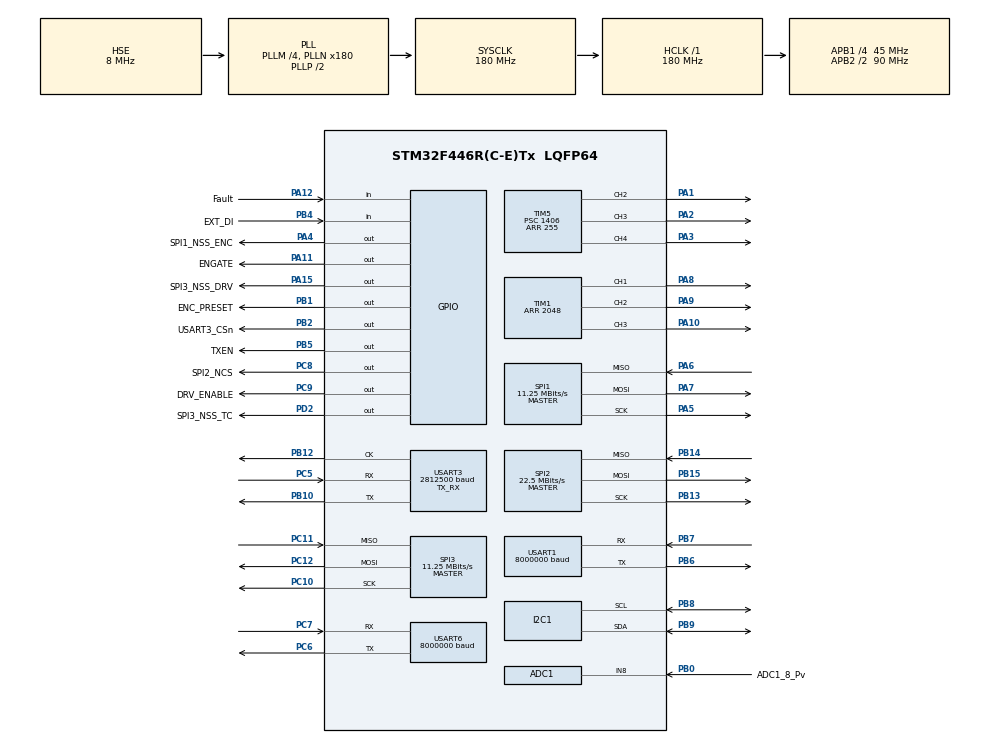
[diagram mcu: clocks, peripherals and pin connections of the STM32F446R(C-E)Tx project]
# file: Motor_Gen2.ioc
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ADC1.Channel-0\#ChannelRegularConversion=ADC_CHANNEL_8
ADC1.ClockPrescaler=ADC_CLOCK_SYNC_PCLK_DIV4
ADC1.ContinuousConvMode=DISABLE
ADC1.DMAContinuousRequests=DISABLE
ADC1.DataAlign=ADC_DATAALIGN_RIGHT
ADC1.DiscontinuousConvMode=DISABLE
ADC1.EOCSelection=ADC_EOC_SINGLE_CONV
ADC1.EnableAnalogWatchDog=false
ADC1.ExternalTrigConv=ADC_SOFTWARE_START
ADC1.ExternalTrigConvEdge=ADC_EXTERNALTRIGCONVEDGE_NONE
ADC1.InjNumberOfConversion=0
ADC1.NbrOfConversion=1
ADC1.NbrOfConversionFlag=1
ADC1.Rank-0\#ChannelRegularConversion=1
ADC1.Resolution=ADC_RESOLUTION_12B
ADC1.SamplingTime-0\#ChannelRegularConversion=ADC_SAMPLETIME_3CYCLES
ADC1.ScanConvMode=DISABLE
ADC1.master=1
Dma.Request0=USART6_TX
Dma.Request1=USART1_TX
Dma.Request2=SPI2_TX
Dma.Request3=SPI2_RX
Dma.Request4=SPI1_RX
Dma.Request5=SPI1_TX
Dma.SPI1_RX.4.Direction=DMA_PERIPH_TO_MEMORY
Dma.SPI1_RX.4.FIFOMode=DMA_FIFOMODE_DISABLE
Dma.SPI1_RX.4.Instance=DMA2_Stream0
Dma.SPI1_RX.4.MemDataAlignment=DMA_MDATAALIGN_BYTE
Dma.SPI1_RX.4.MemInc=DMA_MINC_ENABLE
Dma.SPI1_RX.4.Mode=DMA_NORMAL
Dma.SPI1_RX.4.PeriphDataAlignment=DMA_PDATAALIGN_BYTE
Dma.SPI1_RX.4.PeriphInc=DMA_PINC_DISABLE
Dma.SPI1_RX.4.Priority=DMA_PRIORITY_HIGH
Dma.SPI1_TX.5.Direction=DMA_MEMORY_TO_PERIPH
Dma.SPI1_TX.5.FIFOMode=DMA_FIFOMODE_DISABLE
Dma.SPI1_TX.5.Instance=DMA2_Stream3
Dma.SPI1_TX.5.MemDataAlignment=DMA_MDATAALIGN_BYTE
Dma.SPI1_TX.5.MemInc=DMA_MINC_ENABLE
Dma.SPI1_TX.5.Mode=DMA_NORMAL
Dma.SPI1_TX.5.PeriphDataAlignment=DMA_PDATAALIGN_BYTE
Dma.SPI1_TX.5.PeriphInc=DMA_PINC_DISABLE
Dma.SPI1_TX.5.Priority=DMA_PRIORITY_HIGH
Dma.SPI2_RX.3.Direction=DMA_PERIPH_TO_MEMORY
Dma.SPI2_RX.3.FIFOMode=DMA_FIFOMODE_DISABLE
Dma.SPI2_RX.3.Instance=DMA1_Stream3
Dma.SPI2_RX.3.MemDataAlignment=DMA_MDATAALIGN_HALFWORD
Dma.SPI2_RX.3.MemInc=DMA_MINC_ENABLE
Dma.SPI2_RX.3.Mode=DMA_NORMAL
Dma.SPI2_RX.3.PeriphDataAlignment=DMA_PDATAALIGN_HALFWORD
Dma.SPI2_RX.3.PeriphInc=DMA_PINC_DISABLE
Dma.SPI2_RX.3.Priority=DMA_PRIORITY_HIGH
Dma.SPI2_TX.2.Direction=DMA_MEMORY_TO_PERIPH
Dma.SPI2_TX.2.FIFOMode=DMA_FIFOMODE_DISABLE
Dma.SPI2_TX.2.Instance=DMA1_Stream4
Dma.SPI2_TX.2.MemDataAlignment=DMA_MDATAALIGN_HALFWORD
Dma.SPI2_TX.2.MemInc=DMA_MINC_ENABLE
Dma.SPI2_TX.2.Mode=DMA_NORMAL
Dma.SPI2_TX.2.PeriphDataAlignment=DMA_PDATAALIGN_HALFWORD
Dma.SPI2_TX.2.PeriphInc=DMA_PINC_DISABLE
Dma.SPI2_TX.2.Priority=DMA_PRIORITY_HIGH
Dma.USART1_TX.1.Direction=DMA_MEMORY_TO_PERIPH
Dma.USART1_TX.1.FIFOMode=DMA_FIFOMODE_DISABLE
Dma.USART1_TX.1.Instance=DMA2_Stream7
Dma.USART1_TX.1.MemDataAlignment=DMA_MDATAALIGN_BYTE
Dma.USART1_TX.1.MemInc=DMA_MINC_ENABLE
Dma.USART1_TX.1.Mode=DMA_NORMAL
Dma.USART1_TX.1.PeriphDataAlignment=DMA_PDATAALIGN_BYTE
Dma.USART1_TX.1.PeriphInc=DMA_PINC_DISABLE
Dma.USART1_TX.1.Priority=DMA_PRIORITY_MEDIUM
Dma.USART6_TX.0.Direction=DMA_MEMORY_TO_PERIPH
Dma.USART6_TX.0.FIFOMode=DMA_FIFOMODE_DISABLE
Dma.USART6_TX.0.Instance=DMA2_Stream6
Dma.USART6_TX.0.MemDataAlignment=DMA_MDATAALIGN_BYTE
Dma.USART6_TX.0.MemInc=DMA_MINC_ENABLE
Dma.USART6_TX.0.Mode=DMA_NORMAL
Dma.USART6_TX.0.PeriphDataAlignment=DMA_PDATAALIGN_BYTE
Dma.USART6_TX.0.PeriphInc=DMA_PINC_DISABLE
Dma.USART6_TX.0.Priority=DMA_PRIORITY_MEDIUM
I2C1.DualAddressMode=I2C_DUALADDRESS_DISABLE
I2C1.DutyCycle=I2C_DUTYCYCLE_16_9
I2C1.I2C_Mode=I2C_Fast
I2C1.OwnAddress=0
Mcu.Family=STM32F4
Mcu.Name=STM32F446R(C-E)Tx
Mcu.Package=LQFP64
NVIC.DMA1_Stream3_IRQn=true\:0\:0\:false\:false\:true\:false\:true\:true
NVIC.DMA1_Stream4_IRQn=true\:0\:0\:false\:false\:true\:false\:true\:true
NVIC.DMA2_Stream0_IRQn=true\:0\:0\:false\:false\:true\:false\:true\:true
NVIC.DMA2_Stream3_IRQn=true\:0\:0\:false\:false\:true\:false\:true\:true
NVIC.DMA2_Stream6_IRQn=true\:2\:0\:true\:false\:true\:true\:true\:true
NVIC.DMA2_Stream7_IRQn=true\:1\:0\:true\:false\:true\:true\:true\:true
NVIC.PriorityGroup=NVIC_PRIORITYGROUP_4
NVIC.TIM1_CC_IRQn=true\:2\:0\:true\:false\:true\:true\:true\:true
NVIC.TIM6_DAC_IRQn=true\:8\:0\:true\:false\:true\:true\:true\:true
NVIC.TIM7_IRQn=true\:7\:0\:true\:false\:true\:true\:true\:true
NVIC.USART1_IRQn=true\:1\:0\:true\:false\:true\:true\:true\:true
NVIC.USART3_IRQn=true\:1\:0\:true\:false\:true\:true\:true\:true
NVIC.USART6_IRQn=true\:1\:0\:true\:false\:true\:true\:true\:true
PA1.Signal=S_TIM5_CH2
PA10.GPIO_Speed=GPIO_SPEED_FREQ_HIGH
PA10.Signal=S_TIM1_CH3
PA11.GPIO_Label=ENGATE
PA11.Signal=GPIO_Output
PA12.GPIO_Label=Fault
PA12.GPIO_PuPd=GPIO_PULLUP
PA12.Signal=GPIO_Input
PA13.Mode=Trace_Asynchronous_SW
PA13.Signal=SYS_JTMS-SWDIO
PA14.Mode=Trace_Asynchronous_SW
PA14.Signal=SYS_JTCK-SWCLK
PA15.GPIO_Label=SPI3_NSS_DRV
PA15.GPIO_Speed=GPIO_SPEED_FREQ_VERY_HIGH
PA15.PinState=GPIO_PIN_SET
PA15.Signal=GPIO_Output
PA2.Signal=S_TIM5_CH3
PA3.Signal=S_TIM5_CH4
PA4.GPIO_Label=SPI1_NSS_ENC
PA4.GPIO_Speed=GPIO_SPEED_FREQ_VERY_HIGH
PA4.PinState=GPIO_PIN_SET
PA4.Signal=GPIO_Output
PA5.Mode=Full_Duplex_Master
PA5.Signal=SPI1_SCK
PA6.Mode=Full_Duplex_Master
PA6.Signal=SPI1_MISO
PA7.Mode=Full_Duplex_Master
PA7.Signal=SPI1_MOSI
PA8.GPIO_Speed=GPIO_SPEED_FREQ_HIGH
PA8.Signal=S_TIM1_CH1
PA9.GPIO_Speed=GPIO_SPEED_FREQ_HIGH
PA9.Signal=S_TIM1_CH2
PB0.GPIO_Label=ADC1_8_Pv
PB0.Signal=ADCx_IN8
PB1.GPIO_Label=ENC_PRESET
PB1.Signal=GPIO_Output
PB10.Mode=Synchronous
PB10.Signal=USART3_TX
PB12.GPIO_PuPd=GPIO_NOPULL
PB12.Mode=Synchronous
PB12.Signal=USART3_CK
PB13.GPIO_PuPd=GPIO_NOPULL
PB13.Mode=Full_Duplex_Master
PB13.Signal=SPI2_SCK
PB14.Mode=Full_Duplex_Master
PB14.Signal=SPI2_MISO
PB15.Mode=Full_Duplex_Master
PB15.Signal=SPI2_MOSI
PB2.GPIO_Label=USART3_CSn
PB2.GPIO_Speed=GPIO_SPEED_FREQ_VERY_HIGH
PB2.PinState=GPIO_PIN_SET
PB2.Signal=GPIO_Output
PB3.Mode=Trace_Asynchronous_SW
PB3.Signal=SYS_JTDO-SWO
PB4.GPIO_Label=EXT_DI
PB4.GPIO_PuPd=GPIO_PULLUP
PB4.Signal=GPIO_Input
PB5.GPIO_Label=TXEN
PB5.GPIO_Speed=GPIO_SPEED_FREQ_VERY_HIGH
PB5.Signal=GPIO_Output
PB6.Mode=Asynchronous
PB6.Signal=USART1_TX
PB7.Mode=Asynchronous
PB7.Signal=USART1_RX
PB8.GPIO_Pu=GPIO_NOPULL
PB8.Mode=I2C
PB8.Signal=I2C1_SCL
PB9.GPIO_Pu=GPIO_NOPULL
PB9.Mode=I2C
PB9.Signal=I2C1_SDA
PC10.Mode=Full_Duplex_Master
PC10.Signal=SPI3_SCK
PC11.GPIO_PuPd=GPIO_PULLUP
PC11.Mode=Full_Duplex_Master
PC11.Signal=SPI3_MISO
PC12.Mode=Full_Duplex_Master
PC12.Signal=SPI3_MOSI
PC5.Mode=Synchronous
PC5.Signal=USART3_RX
PC6.Mode=Asynchronous
PC6.Signal=USART6_TX
PC7.Mode=Asynchronous
PC7.Signal=USART6_RX
PC8.GPIO_Label=SPI2_NCS
PC8.GPIO_Speed=GPIO_SPEED_FREQ_VERY_HIGH
PC8.PinState=GPIO_PIN_SET
PC8.Signal=GPIO_Output
PC9.GPIO_Label=DRV_ENABLE
PC9.Signal=GPIO_Output
PD2.GPIO_Label=SPI3_NSS_TC
PD2.GPIO_Speed=GPIO_SPEED_FREQ_VERY_HIGH
PD2.PinState=GPIO_PIN_SET
PD2.Signal=GPIO_Output
PH0-OSC_IN.Mode=HSE-External-Oscillator
PH0-OSC_IN.Signal=RCC_OSC_IN
PH1-OSC_OUT.Mode=HSE-External-Oscillator
PH1-OSC_OUT.Signal=RCC_OSC_OUT
ProjectManager.HeapSize=0x200
ProjectManager.StackSize=0x1000
ProjectManager.TargetToolchain=STM32CubeIDE
RCC.AHBFreq_Value=180000000
RCC.APB1CLKDivider=RCC_HCLK_DIV4
RCC.APB1Freq_Value=45000000
RCC.APB1TimFreq_Value=90000000
RCC.APB2CLKDivider=RCC_HCLK_DIV2
RCC.APB2Freq_Value=90000000
RCC.APB2TimFreq_Value=180000000
RCC.CortexFreq_Value=180000000
RCC.HCLKFreq_Value=180000000
RCC.HSE_VALUE=8000000
RCC.PLLM=4
RCC.PLLN=180
RCC.PLLSourceVirtual=RCC_PLLSOURCE_HSE
RCC.SYSCLKFreq_VALUE=180000000
RCC.SYSCLKSource=RCC_SYSCLKSOURCE_PLLCLK
RCC.USBFreq_Value=180000000
RCC.VCOOutputFreq_Value=360000000
SH.ADCx_IN8.0=ADC1_IN8,IN8
SH.S_TIM1_CH1.0=TIM1_CH1,PWM Generation1 CH1
SH.S_TIM1_CH2.0=TIM1_CH2,PWM Generation2 CH2
SH.S_TIM1_CH3.0=TIM1_CH3,PWM Generation3 CH3
SH.S_TIM5_CH2.0=TIM5_CH2,PWM Generation2 CH2
SH.S_TIM5_CH3.0=TIM5_CH3,PWM Generation3 CH3
SH.S_TIM5_CH4.0=TIM5_CH4,PWM Generation4 CH4
SPI1.BaudRatePrescaler=SPI_BAUDRATEPRESCALER_8
SPI1.CLKPhase=SPI_PHASE_2EDGE
SPI1.CLKPolarity=SPI_POLARITY_HIGH
SPI1.CalculateBaudRate=11.25 MBits/s
SPI1.DataSize=SPI_DATASIZE_8BIT
SPI1.Direction=SPI_DIRECTION_2LINES
SPI1.Mode=SPI_MODE_MASTER
SPI1.VirtualType=VM_MASTER
SPI2.BaudRatePrescaler=SPI_BAUDRATEPRESCALER_2
SPI2.CLKPhase=SPI_PHASE_1EDGE
SPI2.CLKPolarity=SPI_POLARITY_HIGH
SPI2.CalculateBaudRate=22.5 MBits/s
SPI2.DataSize=SPI_DATASIZE_16BIT
SPI2.Direction=SPI_DIRECTION_2LINES
SPI2.Mode=SPI_MODE_MASTER
SPI2.VirtualType=VM_MASTER
SPI3.BaudRatePrescaler=SPI_BAUDRATEPRESCALER_4
SPI3.CLKPhase=SPI_PHASE_2EDGE
SPI3.CalculateBaudRate=11.25 MBits/s
SPI3.DataSize=SPI_DATASIZE_16BIT
SPI3.Direction=SPI_DIRECTION_2LINES
SPI3.Mode=SPI_MODE_MASTER
SPI3.VirtualType=VM_MASTER
TIM1.Channel-Output\ Compare4\ No\ Output=TIM_CHANNEL_4
TIM1.Channel-PWM\ Generation1\ CH1=TIM_CHANNEL_1
TIM1.Channel-PWM\ Generation2\ CH2=TIM_CHANNEL_2
TIM1.Channel-PWM\ Generation3\ CH3=TIM_CHANNEL_3
TIM1.CounterMode=TIM_COUNTERMODE_CENTERALIGNED1
TIM1.OCMode_4=TIM_OCMODE_TOGGLE
TIM1.OCPolarity_1=TIM_OCPOLARITY_LOW
TIM1.OCPolarity_2=TIM_OCPOLARITY_LOW
TIM1.OCPolarity_3=TIM_OCPOLARITY_LOW
TIM1.Period=2048
TIM1.Pulse-Output\ Compare4\ No\ Output=1
TIM5.Channel-PWM\ Generation2\ CH2=TIM_CHANNEL_2
TIM5.Channel-PWM\ Generation3\ CH3=TIM_CHANNEL_3
TIM5.Channel-PWM\ Generation4\ CH4=TIM_CHANNEL_4
TIM5.Period=255
TIM5.Prescaler=1406
TIM6.Period=1999
TIM6.Prescaler=8999
TIM7.Period=249
TIM7.Prescaler=89
USART1.BaudRate=8000000
USART1.OverSampling=UART_OVERSAMPLING_8
USART1.VirtualMode=VM_ASYNC
USART3.BaudRate=2812500
USART3.CLKLastBit=USART_LASTBIT_ENABLE
USART3.CLKPhase=USART_PHASE_2EDGE
USART3.CLKPolarity=USART_POLARITY_HIGH
USART3.Mode=MODE_TX_RX
USART3.StopBits=STOPBITS_1
USART3.VirtualMode=VM_SYNC
USART6.BaudRate=8000000
USART6.OverSampling=UART_OVERSAMPLING_8
USART6.VirtualMode=VM_ASYNC
VP_CRC_VS_CRC.Mode=CRC_Activate
VP_TIM1_VS_ClockSourceINT.Mode=Internal
VP_TIM1_VS_no_output4.Mode=Output Compare4 No Output
VP_TIM5_VS_ClockSourceINT.Mode=Internal
VP_TIM6_VS_ClockSourceINT.Mode=Enable_Timer
VP_TIM7_VS_ClockSourceINT.Mode=Enable_Timer
board=Motor_rev2

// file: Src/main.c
/* USER CODE BEGIN Header */
/**
  ******************************************************************************
  * @file           : main.c
  * @brief          : Main program body
  ******************************************************************************
  * @attention
  *
  * <h2><center>&copy; Copyright (c) 2019 STMicroelectronics.
  * All rights reserved.</center></h2>
  *
  * This software component is licensed by ST under BSD 3-Clause license,
  * the "License"; You may not use this file except in compliance with the
  * License. You may obtain a copy of the License at:
  *                        opensource.org/licenses/BSD-3-Clause
  *
  ******************************************************************************
  */
/* USER CODE END Header */
#include "main.h"

/* USER CODE BEGIN Includes */
#include "Config.h"

#include "IC_MHM_PV.h"
#include "IC_MU_PVL.h"
#include "DRV8320.h"
#include "TMP112.h"
//#include "MAX31855.h"
#include "ADS8353.h"
//#include "AS5311.h"
#include "MPS_MA.h"
#include "Flash.h"

#include "util.h"
//#include "Control_LL.h"
#include "Control.h"
//#include "Data_Comm.h"
//#include "Error.h"
//#include "Multiturn_Enc.h"

/* USER CODE END Includes */

ADC_HandleTypeDef hadc1;

CRC_HandleTypeDef hcrc;

I2C_HandleTypeDef hi2c1;

SPI_HandleTypeDef hspi1;
SPI_HandleTypeDef hspi2;
SPI_HandleTypeDef hspi3;
DMA_HandleTypeDef hdma_spi1_rx;
DMA_HandleTypeDef hdma_spi1_tx;
DMA_HandleTypeDef hdma_spi2_tx;
DMA_HandleTypeDef hdma_spi2_rx;

TIM_HandleTypeDef htim1;
TIM_HandleTypeDef htim5;
TIM_HandleTypeDef htim6;
TIM_HandleTypeDef htim7;

UART_HandleTypeDef huart1;
USART_HandleTypeDef husart3;
UART_HandleTypeDef huart6;
DMA_HandleTypeDef hdma_usart1_tx;
DMA_HandleTypeDef hdma_usart6_tx;

/* USER CODE BEGIN PV */
/* Private variables ---------------------------------------------------------*/

Motor_TypeDef Motor1;	/**< motor controller structure */
//Debug_TypeDef Debug;	//not in use
Mode_TypeDef  Mode;		/**< actuator mode structure */

Motor_Config_TypeDef  Config_Active;	/**< active config */
Motor_Config_TypeDef  Config_Buff;		/**< buffered config */
/** config data from flash */
Motor_Config_TypeDef* pConfig_Flash = (Motor_Config_TypeDef*)CONFIG_ADD;

Motor_Stat_TypeDef Stat_Active;			/**< active stats */
Motor_Stat_TypeDef Stat_Buff;			/**< buffered stats */

/** calibration data from flash */
Cal_TypeDef* pCal_Flash = (Cal_TypeDef*)CAL_ADDR;

volatile uint32_t idle_ct=0;		/**< counter for cpu idle counter */
volatile uint8_t idle_refresh=0;	/**< reset for cpu idle counter */

/* USER CODE END PV */

void SystemClock_Config(void);
static void MX_GPIO_Init(void);
static void MX_DMA_Init(void);
static void MX_SPI1_Init(void);
static void MX_SPI2_Init(void);
static void MX_SPI3_Init(void);
static void MX_TIM1_Init(void);
static void MX_ADC1_Init(void);
static void MX_I2C1_Init(void);
static void MX_USART1_UART_Init(void);
static void MX_USART6_UART_Init(void);
static void MX_TIM5_Init(void);
static void MX_TIM6_Init(void);
static void MX_TIM7_Init(void);
static void MX_CRC_Init(void);
static void MX_USART3_Init(void);
/* USER CODE BEGIN PFP */
/* Private function prototypes -----------------------------------------------*/

/* USER CODE END PFP */

int main(void)
{
  /* USER CODE BEGIN 1 */
	uint8_t MHM_ReadBack[20];

	/*** check for data size ***/
	static_assert(sizeof(Motor_Stat_TypeDef)==4*MOTOR_STAT_SIZE,
				  "stat data size should be MOTOR_STAT_SIZE");
	static_assert(sizeof(Motor_Config_TypeDef)==4*MOTOR_CONFIG_SIZE,
				  "Flash data size should be MOTOR_CONFIG_SIZE");
	static_assert(sizeof(Cal_TypeDef)==4*CAL_SIZE,
				  "Flash data size should be CAL_SIZE");

  /* USER CODE END 1 */

  /* MCU Configuration--------------------------------------------------------*/

  /* Reset of all peripherals, Initializes the Flash interface and the Systick. */
  HAL_Init();

  /* Configure the system clock */
  SystemClock_Config();

  /* Initialize all configured peripherals */
  MX_GPIO_Init();
  MX_DMA_Init();
  MX_SPI1_Init();
  MX_SPI2_Init();
  MX_SPI3_Init();
  MX_TIM1_Init();
  MX_ADC1_Init();
  MX_I2C1_Init();
  MX_USART1_UART_Init();
  MX_USART6_UART_Init();
  MX_TIM5_Init();
  MX_TIM6_Init();
  MX_TIM7_Init();
  MX_CRC_Init();
  MX_USART3_Init();
  /* USER CODE BEGIN 2 */

	/*** Start initialization ***/
	/* Print out hardware driver and firmware version number */
	printf("Version HW:%02X DRV:%02X FW:%04X\n", HW_VERSION, DRV_VERSION, FW_VERSION);

	/*** Initialize indicator LEDs PWM ***/
	HAL_TIM_PWM_Start(&htim5,TIM_CHANNEL_2);
	HAL_TIM_PWM_Start(&htim5,TIM_CHANNEL_3);
	HAL_TIM_PWM_Start(&htim5,TIM_CHANNEL_4);

	/* Light up red led when initializing*/
	LED_R_dim(); LED_G_off(); LED_B_off();

	/*** DRV8320 reset ***/
	__HAL_SPI_ENABLE(&HSPI_DRV8320);
	DRV8320_Reset();	// DRV8320 reset pin pulse

	/*** Main Encoder ***/
#ifdef MHM_NO_EEPROM
	/* MHM w/o EEPROM and PV */
	HAL_Delay(45);		// Delay waiting for EEPROM read timeout
//	MHM_Read_Regs(0x00, 20);

	/* Overwrite MHM Registers */
	printf("MHM Writing EEPROM..");
	do {
		printf(".");
		MHM_Write_Regs(0x00, (uint8_t*)MHM_Regs, 20);	// Write all registers
		DelayMicros(1);
		MHM_Write_Reg(MHM_ADDR_RESET, MHM_INSTR_RESET);	// Reset MHM
		HAL_Delay(14);
		MHM_Read_Regs(0x00, 20, MHM_ReadBack);

	} while( memcmp(MHM_Regs, MHM_ReadBack, 20) );	//readback check

	printf("  DONE\n");	//MHM registers set success!
	/* Print MHM registers and errors for debug */
	printf("MHM Reg:%02X %02X %02X %02X Err:%02X\n", MHM_ReadBack[0],
													 MHM_ReadBack[1],
													 MHM_ReadBack[2],
													 MHM_ReadBack[3],
											MHM_Read_Reg(MHM_ADDR_ERROR));
	/* Print MHM Gain */
	printf("MHM Gain: %04X\n", MHM_Read_Reg(MHM_ADDR_GAINS));

#elif defined(MHM_PV_MULTITURN)
	/* MHM w/ PV Multiturn */
	/* Registers auto loaded from EEPROM */
	HAL_Delay(20);	//Enough delay to have ic-MU power on.

//	/* DEBUG */
//	USART_PutChar(USART_DEBUG,MHM_Read_Reg(MHM_ADDR_GAINS));
//	USART_PutChar(USART_DEBUG, MHM_Read_Posi(&Motor1.Rtr_MT, &Motor1.Rtr_ST));
//	HAL_Delay(1);

	/* Print MHM Gain */
	printf("MHM Gain: %04X\n", MHM_Read_Reg(MHM_ADDR_GAINS));

#elif defined(MU_PVL_MULTITURN)
	/* MU w/ PVL Multiturn */
	/* Registers auto loaded from EEPROM */
	HAL_Delay(20);	//Enough delay to have ic-MU power on.

//	USART_PutChar(USART_DEBUG, MU_Read_Reg(MU_ADDR_ACGAIN_M));
//	HAL_Delay(1);
	/* Print MU status bits */
	printf("MU Stats 0 1: %02X %02X\n", MU_Read_Reg(MU_ADDR_STATUS0),
		   								MU_Read_Reg(MU_ADDR_STATUS1) );
	/* Print MU Gain */
	printf("MU Gains M N: %02X %02X\n", MU_Read_Reg(MU_ADDR_ACGAIN_M),
		   								MU_Read_Reg(MU_ADDR_ACGAIN_N) );

#else
	#error "Main Encoder definition invalid!"
#endif

	/*** TMP112 initialize ***/
	printf("TMP Writing Configs... ");
	while ( TMP112_WriteConfig(TMP112_ADDR0, TMP112_8HZ, TMP112_EXTENDED_MODE) != HAL_OK );
	printf("DONE\n");
	//printf("\n%04d TMP112 init Done", Get_Tick_Diff());

	/*** DRV8320 Initialize ***/
	printf("DRV Writing Configs... ");
	while ( DRV8320_Write_Confirm(DRV_ADDR_GDHS,
									(0x03<<DRV_GDHS_LOCK_Pos)|			//0x03 unlock
				  					(IDRIVE_CURRENT<<DRV_GDHS_IDRIVEP_HS_Pos)|	//0x01 30mA
									(IDRIVE_CURRENT<<DRV_GDHS_IDRIVEN_HS_Pos))	//0x01 60mA
		   						  != HAL_OK );
	while ( DRV8320_Write_Confirm(DRV_ADDR_GDLS,
									(0x01<<DRV_GDLS_CBC_Pos)|			//0x01
				  					(0x02<<DRV_GDLS_TDRIVE_Pos)|		//0x02 2000-ns peak drive time
				  					(IDRIVE_CURRENT<<DRV_GDLS_IDRIVEP_LS_Pos)|	//0x01 30mA
									(IDRIVE_CURRENT<<DRV_GDLS_IDRIVEN_LS_Pos)) 	//0x01 60mA
								  != HAL_OK );
	while ( DRV8320_Write_Confirm(DRV_ADDR_OCP,
								  	(0x00<<DRV_OCP_DEADTIME_Pos)|		//0x00 50ns
				  					(0x00<<DRV_OCP_MODE_Pos)|			//0x00 latch fault
				  					(0x02<<DRV_OCP_DEG_Pos)|			//0x02 6us
									(VDS_OVERCURRENT<<DRV_OCP_VDS_LVL_Pos))		//0x04 0.31V
		  						  != HAL_OK );
	while ( DRV8320_Write_Confirm(DRV_ADDR_DCTRL,
								  	(0x01<<DRV_DC_PWM_MODE_Pos)|		//0x01 3PWM mode
								 	(0x00<<DRV_DC_CLR_FLT_Pos))			//0x00 do not clear fault
		   						  != HAL_OK );
	printf("DONE\n");
	/* Print DRV8320 register values */
	printf("DRV Registers: %03x %03x %03x %03x %03x %03x\n",
		   	DRV8320_Read(DRV_ADDR_FAULT1),DRV8320_Read(DRV_ADDR_FAULT2),DRV8320_Read(DRV_ADDR_DCTRL),
			DRV8320_Read(DRV_ADDR_GDHS),DRV8320_Read(DRV_ADDR_GDLS),DRV8320_Read(DRV_ADDR_OCP) );

	/*** ADS8353 Initialize ***/
	printf("ADS Writing Configs... ");
	ADS8353_DMA_Init();
	while( ADS8353_Write_Confirm_Reg(ADS_WRITE_CFR, ADS_READ_CFR,
									 (0<<ADS_RD_CLK_MODE_Pos)|		//32-CLK mode
					  				 (1<<ADS_RD_DATA_LINES_Pos)|	//use only SDO_A
									 (1<<ADS_INPUT_RANGE_Pos)|		//2xVref FSR
									 (0<<ADS_INM_SEL_Pos)|			//single-ended
									 (1<<ADS_REF_SEL_Pos)|			//internal reference
									 (0<<ADS_STANDBY_Pos)|			//not in standby
									 (0<<ADS_RD_DATA_FORMAT_Pos))	//straight binary
									!= HAL_OK );
	printf("DONE\n");
	printf("ADS CFR: %03X REFDAC: %03X %03X \n", ADS8353_Read_Reg(ADS_READ_CFR)&0xFFF,
												(ADS8353_Read_Reg(ADS_READ_REFDAC_A)&0xFFF)>>3,
												(ADS8353_Read_Reg(ADS_READ_REFDAC_B)&0xFFF)>>3);

	/*** External Encoders ***/

#ifdef EXT_MA_ENCODER
	/* MA310 external encoder for output shaft absolute position */
	printf("EXT MA Writing Configs...");

	while( MA_Write_Confirm_Reg(MA_ADDR_ET, 0x02)	// Y direction
								!= HAL_OK );
	while( MA_Write_Confirm_Reg(MA_ADDR_BCT, EXT_MA_BCT)	// BCT value
								!= HAL_OK );
	while( MA_Write_Confirm_Reg(MA_ADDR_RD, 0x80)	// CCW
								!= HAL_OK );
	printf("0x02/3/9: %02X %02X %02X\n", MA_Read_Reg(0x02),
										 MA_Read_Reg(0x03),
										 MA_Read_Reg(0x09) );
#endif

	/*** Controller initialize sequence ***/
	Ctrl_Init();

    /*** PWM Initialize ***/
    /* Set Interupt */
	__HAL_TIM_DISABLE_IT(&htim1, (TIM_IT_UPDATE | TIM_IT_CC1 | TIM_IT_CC2 | TIM_IT_CC3 |
								  TIM_IT_COM | TIM_IT_TRIGGER | TIM_IT_BREAK));
	__HAL_TIM_ENABLE_IT(&htim1, TIM_IT_CC4);
    /* Set the Capture Compare Register value */
    TIM1->CCR1 = HALF_PWM_CCR; //V1_A
    TIM1->CCR2 = HALF_PWM_CCR; //V1_B
    TIM1->CCR3 = HALF_PWM_CCR; //V1_C
    TIM1->CCR4 = 0x001; //ADC
    /* Enable output */
    TIM_CCxChannelCmd(htim1.Instance, TIM_CHANNEL_1, TIM_CCx_ENABLE);
    TIM_CCxChannelCmd(htim1.Instance, TIM_CHANNEL_2, TIM_CCx_ENABLE);
    TIM_CCxChannelCmd(htim1.Instance, TIM_CHANNEL_3, TIM_CCx_ENABLE);
    TIM_CCxChannelCmd(htim1.Instance, TIM_CHANNEL_4, TIM_CCx_ENABLE);
    __HAL_TIM_MOE_ENABLE(&htim1);
	__HAL_TIM_ENABLE(&htim1); //Start TIM1

	/*** Enable control loops ***/
    HAL_TIM_Base_Start_IT(&htim7);      //4000Hz Controls
    HAL_TIM_Base_Start_IT(&htim6);      //5Hz

	/***********finish initialize*********/
	LED_R_off();
	LED_G_dim();	//Green LED

  /* USER CODE END 2 */

  /* Infinite loop */
	while (1)
	{

    /* USER CODE BEGIN 3 */

	/*** Count idle for CPU percentage monitoring ***/
		idle_ct++;
		if (idle_refresh)
		{
			idle_ct = 0;
			idle_refresh = 0;
		}

	}
  /* USER CODE END 3 */
}

void SystemClock_Config(void)
{
  RCC_OscInitTypeDef RCC_OscInitStruct = {0};
  RCC_ClkInitTypeDef RCC_ClkInitStruct = {0};

  /** Configure the main internal regulator output voltage
  */
  __HAL_RCC_PWR_CLK_ENABLE();
  __HAL_PWR_VOLTAGESCALING_CONFIG(PWR_REGULATOR_VOLTAGE_SCALE1);

  /** Initializes the RCC Oscillators according to the specified parameters
  * in the RCC_OscInitTypeDef structure.
  */
  RCC_OscInitStruct.OscillatorType = RCC_OSCILLATORTYPE_HSE;
  RCC_OscInitStruct.HSEState = RCC_HSE_ON;
  RCC_OscInitStruct.PLL.PLLState = RCC_PLL_ON;
  RCC_OscInitStruct.PLL.PLLSource = RCC_PLLSOURCE_HSE;
  RCC_OscInitStruct.PLL.PLLM = 4;
  RCC_OscInitStruct.PLL.PLLN = 180;
  RCC_OscInitStruct.PLL.PLLP = RCC_PLLP_DIV2;
  RCC_OscInitStruct.PLL.PLLQ = 2;
  RCC_OscInitStruct.PLL.PLLR = 2;
  if (HAL_RCC_OscConfig(&RCC_OscInitStruct) != HAL_OK)
  {
    Error_Handler();
  }

  /** Activate the Over-Drive mode
  */
  if (HAL_PWREx_EnableOverDrive() != HAL_OK)
  {
    Error_Handler();
  }

  /** Initializes the CPU, AHB and APB buses clocks
  */
  RCC_ClkInitStruct.ClockType = RCC_CLOCKTYPE_HCLK|RCC_CLOCKTYPE_SYSCLK
                              |RCC_CLOCKTYPE_PCLK1|RCC_CLOCKTYPE_PCLK2;
  RCC_ClkInitStruct.SYSCLKSource = RCC_SYSCLKSOURCE_PLLCLK;
  RCC_ClkInitStruct.AHBCLKDivider = RCC_SYSCLK_DIV1;
  RCC_ClkInitStruct.APB1CLKDivider = RCC_HCLK_DIV4;
  RCC_ClkInitStruct.APB2CLKDivider = RCC_HCLK_DIV2;

  if (HAL_RCC_ClockConfig(&RCC_ClkInitStruct, FLASH_LATENCY_5) != HAL_OK)
  {
    Error_Handler();
  }
}

static void MX_ADC1_Init(void)
{

  ADC_ChannelConfTypeDef sConfig = {0};

  /** Configure the global features of the ADC (Clock, Resolution, Data Alignment and number of conversion)
  */
  hadc1.Instance = ADC1;
  hadc1.Init.ClockPrescaler = ADC_CLOCK_SYNC_PCLK_DIV4;
  hadc1.Init.Resolution = ADC_RESOLUTION_12B;
  hadc1.Init.ScanConvMode = DISABLE;
  hadc1.Init.ContinuousConvMode = DISABLE;
  hadc1.Init.DiscontinuousConvMode = DISABLE;
  hadc1.Init.ExternalTrigConvEdge = ADC_EXTERNALTRIGCONVEDGE_NONE;
  hadc1.Init.ExternalTrigConv = ADC_SOFTWARE_START;
  hadc1.Init.DataAlign = ADC_DATAALIGN_RIGHT;
  hadc1.Init.NbrOfConversion = 1;
  hadc1.Init.DMAContinuousRequests = DISABLE;
  hadc1.Init.EOCSelection = ADC_EOC_SINGLE_CONV;
  if (HAL_ADC_Init(&hadc1) != HAL_OK)
  {
    Error_Handler();
  }

  /** Configure for the selected ADC regular channel its corresponding rank in the sequencer and its sample time.
  */
  sConfig.Channel = ADC_CHANNEL_8;
  sConfig.Rank = 1;
  sConfig.SamplingTime = ADC_SAMPLETIME_3CYCLES;
  if (HAL_ADC_ConfigChannel(&hadc1, &sConfig) != HAL_OK)
  {
    Error_Handler();
  }

}

static void MX_CRC_Init(void)
{

  hcrc.Instance = CRC;
  if (HAL_CRC_Init(&hcrc) != HAL_OK)
  {
    Error_Handler();
  }

}

static void MX_I2C1_Init(void)
{

  hi2c1.Instance = I2C1;
  hi2c1.Init.ClockSpeed = 400000;
  hi2c1.Init.DutyCycle = I2C_DUTYCYCLE_16_9;
  hi2c1.Init.OwnAddress1 = 0;
  hi2c1.Init.AddressingMode = I2C_ADDRESSINGMODE_7BIT;
  hi2c1.Init.DualAddressMode = I2C_DUALADDRESS_DISABLE;
  hi2c1.Init.OwnAddress2 = 0;
  hi2c1.Init.GeneralCallMode = I2C_GENERALCALL_DISABLE;
  hi2c1.Init.NoStretchMode = I2C_NOSTRETCH_DISABLE;
  if (HAL_I2C_Init(&hi2c1) != HAL_OK)
  {
    Error_Handler();
  }

}

static void MX_SPI1_Init(void)
{

  /* SPI1 parameter configuration*/
  hspi1.Instance = SPI1;
  hspi1.Init.Mode = SPI_MODE_MASTER;
  hspi1.Init.Direction = SPI_DIRECTION_2LINES;
  hspi1.Init.DataSize = SPI_DATASIZE_8BIT;
  hspi1.Init.CLKPolarity = SPI_POLARITY_HIGH;
  hspi1.Init.CLKPhase = SPI_PHASE_2EDGE;
  hspi1.Init.NSS = SPI_NSS_SOFT;
  hspi1.Init.BaudRatePrescaler = SPI_BAUDRATEPRESCALER_8;
  hspi1.Init.FirstBit = SPI_FIRSTBIT_MSB;
  hspi1.Init.TIMode = SPI_TIMODE_DISABLE;
  hspi1.Init.CRCCalculation = SPI_CRCCALCULATION_DISABLE;
  hspi1.Init.CRCPolynomial = 10;
  if (HAL_SPI_Init(&hspi1) != HAL_OK)
  {
    Error_Handler();
  }

}

static void MX_SPI2_Init(void)
{

  /* SPI2 parameter configuration*/
  hspi2.Instance = SPI2;
  hspi2.Init.Mode = SPI_MODE_MASTER;
  hspi2.Init.Direction = SPI_DIRECTION_2LINES;
  hspi2.Init.DataSize = SPI_DATASIZE_16BIT;
  hspi2.Init.CLKPolarity = SPI_POLARITY_HIGH;
  hspi2.Init.CLKPhase = SPI_PHASE_1EDGE;
  hspi2.Init.NSS = SPI_NSS_SOFT;
  hspi2.Init.BaudRatePrescaler = SPI_BAUDRATEPRESCALER_2;
  hspi2.Init.FirstBit = SPI_FIRSTBIT_MSB;
  hspi2.Init.TIMode = SPI_TIMODE_DISABLE;
  hspi2.Init.CRCCalculation = SPI_CRCCALCULATION_DISABLE;
  hspi2.Init.CRCPolynomial = 10;
  if (HAL_SPI_Init(&hspi2) != HAL_OK)
  {
    Error_Handler();
  }

}

static void MX_SPI3_Init(void)
{

  /* SPI3 parameter configuration*/
  hspi3.Instance = SPI3;
  hspi3.Init.Mode = SPI_MODE_MASTER;
  hspi3.Init.Direction = SPI_DIRECTION_2LINES;
  hspi3.Init.DataSize = SPI_DATASIZE_16BIT;
  hspi3.Init.CLKPolarity = SPI_POLARITY_LOW;
  hspi3.Init.CLKPhase = SPI_PHASE_2EDGE;
  hspi3.Init.NSS = SPI_NSS_SOFT;
  hspi3.Init.BaudRatePrescaler = SPI_BAUDRATEPRESCALER_4;
  hspi3.Init.FirstBit = SPI_FIRSTBIT_MSB;
  hspi3.Init.TIMode = SPI_TIMODE_DISABLE;
  hspi3.Init.CRCCalculation = SPI_CRCCALCULATION_DISABLE;
  hspi3.Init.CRCPolynomial = 10;
  if (HAL_SPI_Init(&hspi3) != HAL_OK)
  {
    Error_Handler();
  }

}

static void MX_TIM1_Init(void)
{

  TIM_ClockConfigTypeDef sClockSourceConfig = {0};
  TIM_MasterConfigTypeDef sMasterConfig = {0};
  TIM_OC_InitTypeDef sConfigOC = {0};
  TIM_BreakDeadTimeConfigTypeDef sBreakDeadTimeConfig = {0};

  /* USER CODE BEGIN TIM1_Init 1 */

  /***** Begin Modified TIM1 init code to change pwm frequency *****/
  htim1.Instance = TIM1;
  htim1.Init.Prescaler = 0;
  htim1.Init.CounterMode = TIM_COUNTERMODE_CENTERALIGNED1;
  htim1.Init.Period = PWM_CCR;
  htim1.Init.ClockDivision = TIM_CLOCKDIVISION_DIV1;
  htim1.Init.RepetitionCounter = 0;
  htim1.Init.AutoReloadPreload = TIM_AUTORELOAD_PRELOAD_DISABLE;
  if (HAL_TIM_Base_Init(&htim1) != HAL_OK)
  {
    Error_Handler();
  }
  sClockSourceConfig.ClockSource = TIM_CLOCKSOURCE_INTERNAL;
  if (HAL_TIM_ConfigClockSource(&htim1, &sClockSourceConfig) != HAL_OK)
  {
    Error_Handler();
  }
  if (HAL_TIM_PWM_Init(&htim1) != HAL_OK)
  {
    Error_Handler();
  }
  if (HAL_TIM_OC_Init(&htim1) != HAL_OK)
  {
    Error_Handler();
  }
  sMasterConfig.MasterOutputTrigger = TIM_TRGO_RESET;
  sMasterConfig.MasterSlaveMode = TIM_MASTERSLAVEMODE_DISABLE;
  if (HAL_TIMEx_MasterConfigSynchronization(&htim1, &sMasterConfig) != HAL_OK)
  {
    Error_Handler();
  }
  sConfigOC.OCMode = TIM_OCMODE_PWM1;
  sConfigOC.Pulse = 0;
  sConfigOC.OCPolarity = TIM_OCPOLARITY_LOW;
  sConfigOC.OCNPolarity = TIM_OCNPOLARITY_HIGH;
  sConfigOC.OCFastMode = TIM_OCFAST_DISABLE;
  sConfigOC.OCIdleState = TIM_OCIDLESTATE_RESET;
  sConfigOC.OCNIdleState = TIM_OCNIDLESTATE_RESET;
  if (HAL_TIM_PWM_ConfigChannel(&htim1, &sConfigOC, TIM_CHANNEL_1) != HAL_OK)
  {
    Error_Handler();
  }
  if (HAL_TIM_PWM_ConfigChannel(&htim1, &sConfigOC, TIM_CHANNEL_2) != HAL_OK)
  {
    Error_Handler();
  }
  if (HAL_TIM_PWM_ConfigChannel(&htim1, &sConfigOC, TIM_CHANNEL_3) != HAL_OK)
  {
    Error_Handler();
  }
  sConfigOC.OCMode = TIM_OCMODE_TOGGLE;
  sConfigOC.Pulse = 1;
  sConfigOC.OCPolarity = TIM_OCPOLARITY_HIGH;
  if (HAL_TIM_OC_ConfigChannel(&htim1, &sConfigOC, TIM_CHANNEL_4) != HAL_OK)
  {
    Error_Handler();
  }
  sBreakDeadTimeConfig.OffStateRunMode = TIM_OSSR_DISABLE;
  sBreakDeadTimeConfig.OffStateIDLEMode = TIM_OSSI_DISABLE;
  sBreakDeadTimeConfig.LockLevel = TIM_LOCKLEVEL_OFF;
  sBreakDeadTimeConfig.DeadTime = 0;
  sBreakDeadTimeConfig.BreakState = TIM_BREAK_DISABLE;
  sBreakDeadTimeConfig.BreakPolarity = TIM_BREAKPOLARITY_HIGH;
  sBreakDeadTimeConfig.AutomaticOutput = TIM_AUTOMATICOUTPUT_DISABLE;
  if (HAL_TIMEx_ConfigBreakDeadTime(&htim1, &sBreakDeadTimeConfig) != HAL_OK)
  {
    Error_Handler();
  }

  /***** End Modified TIM1 init code to change pwm frequency *****/
#if 0

  /* USER CODE END TIM1_Init 1 */
  htim1.Instance = TIM1;
  htim1.Init.Prescaler = 0;
  htim1.Init.CounterMode = TIM_COUNTERMODE_CENTERALIGNED1;
  htim1.Init.Period = 2048;
  htim1.Init.ClockDivision = TIM_CLOCKDIVISION_DIV1;
  htim1.Init.RepetitionCounter = 0;
  htim1.Init.AutoReloadPreload = TIM_AUTORELOAD_PRELOAD_DISABLE;
  if (HAL_TIM_Base_Init(&htim1) != HAL_OK)
  {
    Error_Handler();
  }
  sClockSourceConfig.ClockSource = TIM_CLOCKSOURCE_INTERNAL;
  if (HAL_TIM_ConfigClockSource(&htim1, &sClockSourceConfig) != HAL_OK)
  {
    Error_Handler();
  }
  if (HAL_TIM_PWM_Init(&htim1) != HAL_OK)
  {
    Error_Handler();
  }
  if (HAL_TIM_OC_Init(&htim1) != HAL_OK)
  {
    Error_Handler();
  }
  sMasterConfig.MasterOutputTrigger = TIM_TRGO_RESET;
  sMasterConfig.MasterSlaveMode = TIM_MASTERSLAVEMODE_DISABLE;
  if (HAL_TIMEx_MasterConfigSynchronization(&htim1, &sMasterConfig) != HAL_OK)
  {
    Error_Handler();
  }
  sConfigOC.OCMode = TIM_OCMODE_PWM1;
  sConfigOC.Pulse = 0;
  sConfigOC.OCPolarity = TIM_OCPOLARITY_LOW;
  sConfigOC.OCNPolarity = TIM_OCNPOLARITY_HIGH;
  sConfigOC.OCFastMode = TIM_OCFAST_DISABLE;
  sConfigOC.OCIdleState = TIM_OCIDLESTATE_RESET;
  sConfigOC.OCNIdleState = TIM_OCNIDLESTATE_RESET;
  if (HAL_TIM_PWM_ConfigChannel(&htim1, &sConfigOC, TIM_CHANNEL_1) != HAL_OK)
  {
    Error_Handler();
  }
  if (HAL_TIM_PWM_ConfigChannel(&htim1, &sConfigOC, TIM_CHANNEL_2) != HAL_OK)
  {
    Error_Handler();
  }
  if (HAL_TIM_PWM_ConfigChannel(&htim1, &sConfigOC, TIM_CHANNEL_3) != HAL_OK)
  {
    Error_Handler();
  }
  sConfigOC.OCMode = TIM_OCMODE_TOGGLE;
  sConfigOC.Pulse = 1;
  sConfigOC.OCPolarity = TIM_OCPOLARITY_HIGH;
  if (HAL_TIM_OC_ConfigChannel(&htim1, &sConfigOC, TIM_CHANNEL_4) != HAL_OK)
  {
    Error_Handler();
  }
  sBreakDeadTimeConfig.OffStateRunMode = TIM_OSSR_DISABLE;
  sBreakDeadTimeConfig.OffStateIDLEMode = TIM_OSSI_DISABLE;
  sBreakDeadTimeConfig.LockLevel = TIM_LOCKLEVEL_OFF;
  sBreakDeadTimeConfig.DeadTime = 0;
  sBreakDeadTimeConfig.BreakState = TIM_BREAK_DISABLE;
  sBreakDeadTimeConfig.BreakPolarity = TIM_BREAKPOLARITY_HIGH;
  sBreakDeadTimeConfig.AutomaticOutput = TIM_AUTOMATICOUTPUT_DISABLE;
  if (HAL_TIMEx_ConfigBreakDeadTime(&htim1, &sBreakDeadTimeConfig) != HAL_OK)
  {
    Error_Handler();
  }
  /* USER CODE BEGIN TIM1_Init 2 */
#endif

  /* USER CODE END TIM1_Init 2 */
  HAL_TIM_MspPostInit(&htim1);

}

static void MX_TIM5_Init(void)
{

  TIM_ClockConfigTypeDef sClockSourceConfig = {0};
  TIM_MasterConfigTypeDef sMasterConfig = {0};
  TIM_OC_InitTypeDef sConfigOC = {0};

  htim5.Instance = TIM5;
  htim5.Init.Prescaler = 1406;
  htim5.Init.CounterMode = TIM_COUNTERMODE_UP;
  htim5.Init.Period = 255;
  htim5.Init.ClockDivision = TIM_CLOCKDIVISION_DIV1;
  htim5.Init.AutoReloadPreload = TIM_AUTORELOAD_PRELOAD_DISABLE;
  if (HAL_TIM_Base_Init(&htim5) != HAL_OK)
  {
    Error_Handler();
  }
  sClockSourceConfig.ClockSource = TIM_CLOCKSOURCE_INTERNAL;
  if (HAL_TIM_ConfigClockSource(&htim5, &sClockSourceConfig) != HAL_OK)
  {
    Error_Handler();
  }
  if (HAL_TIM_PWM_Init(&htim5) != HAL_OK)
  {
    Error_Handler();
  }
  sMasterConfig.MasterOutputTrigger = TIM_TRGO_RESET;
  sMasterConfig.MasterSlaveMode = TIM_MASTERSLAVEMODE_DISABLE;
  if (HAL_TIMEx_MasterConfigSynchronization(&htim5, &sMasterConfig) != HAL_OK)
  {
    Error_Handler();
  }
  sConfigOC.OCMode = TIM_OCMODE_PWM1;
  sConfigOC.Pulse = 0;
  sConfigOC.OCPolarity = TIM_OCPOLARITY_HIGH;
  sConfigOC.OCFastMode = TIM_OCFAST_DISABLE;
  if (HAL_TIM_PWM_ConfigChannel(&htim5, &sConfigOC, TIM_CHANNEL_2) != HAL_OK)
  {
    Error_Handler();
  }
  if (HAL_TIM_PWM_ConfigChannel(&htim5, &sConfigOC, TIM_CHANNEL_3) != HAL_OK)
  {
    Error_Handler();
  }
  if (HAL_TIM_PWM_ConfigChannel(&htim5, &sConfigOC, TIM_CHANNEL_4) != HAL_OK)
  {
    Error_Handler();
  }
  HAL_TIM_MspPostInit(&htim5);

}

static void MX_TIM6_Init(void)
{

  TIM_MasterConfigTypeDef sMasterConfig = {0};

  htim6.Instance = TIM6;
  htim6.Init.Prescaler = 8999;
  htim6.Init.CounterMode = TIM_COUNTERMODE_UP;
  htim6.Init.Period = 1999;
  htim6.Init.AutoReloadPreload = TIM_AUTORELOAD_PRELOAD_DISABLE;
  if (HAL_TIM_Base_Init(&htim6) != HAL_OK)
  {
    Error_Handler();
  }
  sMasterConfig.MasterOutputTrigger = TIM_TRGO_RESET;
  sMasterConfig.MasterSlaveMode = TIM_MASTERSLAVEMODE_DISABLE;
  if (HAL_TIMEx_MasterConfigSynchronization(&htim6, &sMasterConfig) != HAL_OK)
  {
    Error_Handler();
  }

}

static void MX_TIM7_Init(void)
{

  TIM_MasterConfigTypeDef sMasterConfig = {0};

  htim7.Instance = TIM7;
  htim7.Init.Prescaler = 89;
  htim7.Init.CounterMode = TIM_COUNTERMODE_UP;
  htim7.Init.Period = 249;
  htim7.Init.AutoReloadPreload = TIM_AUTORELOAD_PRELOAD_DISABLE;
  if (HAL_TIM_Base_Init(&htim7) != HAL_OK)
  {
    Error_Handler();
  }
  sMasterConfig.MasterOutputTrigger = TIM_TRGO_RESET;
  sMasterConfig.MasterSlaveMode = TIM_MASTERSLAVEMODE_DISABLE;
  if (HAL_TIMEx_MasterConfigSynchronization(&htim7, &sMasterConfig) != HAL_OK)
  {
    Error_Handler();
  }

}

static void MX_USART1_UART_Init(void)
{

  huart1.Instance = USART1;
  huart1.Init.BaudRate = 8000000;
  huart1.Init.WordLength = UART_WORDLENGTH_8B;
  huart1.Init.StopBits = UART_STOPBITS_1;
  huart1.Init.Parity = UART_PARITY_NONE;
  huart1.Init.Mode = UART_MODE_TX_RX;
  huart1.Init.HwFlowCtl = UART_HWCONTROL_NONE;
  huart1.Init.OverSampling = UART_OVERSAMPLING_8;
  if (HAL_UART_Init(&huart1) != HAL_OK)
  {
    Error_Handler();
  }

}

static void MX_USART3_Init(void)
{

  husart3.Instance = USART3;
  husart3.Init.BaudRate = 2812500;
  husart3.Init.WordLength = USART_WORDLENGTH_8B;
  husart3.Init.StopBits = USART_STOPBITS_1;
  husart3.Init.Parity = USART_PARITY_NONE;
  husart3.Init.Mode = USART_MODE_TX_RX;
  husart3.Init.CLKPolarity = USART_POLARITY_HIGH;
  husart3.Init.CLKPhase = USART_PHASE_2EDGE;
  husart3.Init.CLKLastBit = USART_LASTBIT_ENABLE;
  if (HAL_USART_Init(&husart3) != HAL_OK)
  {
    Error_Handler();
  }
  /* USER CODE BEGIN USART3_Init 2 */
#if defined(EXT_AS_ENCODER)
  /* AS5047P SPI uses mode=1 (CPOL=0, CPHA=1) */
  husart3.Init.CLKPolarity = USART_POLARITY_LOW;
  if (HAL_USART_Init(&husart3) != HAL_OK)
  {
	  Error_Handler();
  }
#endif

  /* USER CODE END USART3_Init 2 */

}

static void MX_USART6_UART_Init(void)
{

  huart6.Instance = USART6;
  huart6.Init.BaudRate = 8000000;
  huart6.Init.WordLength = UART_WORDLENGTH_8B;
  huart6.Init.StopBits = UART_STOPBITS_1;
  huart6.Init.Parity = UART_PARITY_NONE;
  huart6.Init.Mode = UART_MODE_TX_RX;
  huart6.Init.HwFlowCtl = UART_HWCONTROL_NONE;
  huart6.Init.OverSampling = UART_OVERSAMPLING_8;
  if (HAL_UART_Init(&huart6) != HAL_OK)
  {
    Error_Handler();
  }

}

static void MX_DMA_Init(void)
{

  /* DMA controller clock enable */
  __HAL_RCC_DMA2_CLK_ENABLE();
  __HAL_RCC_DMA1_CLK_ENABLE();

  /* DMA interrupt init */
  /* DMA1_Stream3_IRQn interrupt configuration */
  HAL_NVIC_SetPriority(DMA1_Stream3_IRQn, 0, 0);
  HAL_NVIC_EnableIRQ(DMA1_Stream3_IRQn);
  /* DMA1_Stream4_IRQn interrupt configuration */
  HAL_NVIC_SetPriority(DMA1_Stream4_IRQn, 0, 0);
  HAL_NVIC_EnableIRQ(DMA1_Stream4_IRQn);
  /* DMA2_Stream0_IRQn interrupt configuration */
  HAL_NVIC_SetPriority(DMA2_Stream0_IRQn, 0, 0);
  HAL_NVIC_EnableIRQ(DMA2_Stream0_IRQn);
  /* DMA2_Stream3_IRQn interrupt configuration */
  HAL_NVIC_SetPriority(DMA2_Stream3_IRQn, 0, 0);
  HAL_NVIC_EnableIRQ(DMA2_Stream3_IRQn);
  /* DMA2_Stream6_IRQn interrupt configuration */
  HAL_NVIC_SetPriority(DMA2_Stream6_IRQn, 2, 0);
  HAL_NVIC_EnableIRQ(DMA2_Stream6_IRQn);
  /* DMA2_Stream7_IRQn interrupt configuration */
  HAL_NVIC_SetPriority(DMA2_Stream7_IRQn, 1, 0);
  HAL_NVIC_EnableIRQ(DMA2_Stream7_IRQn);

}

static void MX_GPIO_Init(void)
{
  GPIO_InitTypeDef GPIO_InitStruct = {0};

  /* GPIO Ports Clock Enable */
  __HAL_RCC_GPIOH_CLK_ENABLE();
  __HAL_RCC_GPIOA_CLK_ENABLE();
  __HAL_RCC_GPIOC_CLK_ENABLE();
  __HAL_RCC_GPIOB_CLK_ENABLE();
  __HAL_RCC_GPIOD_CLK_ENABLE();

  /*Configure GPIO pin Output Level */
  HAL_GPIO_WritePin(GPIOA, SPI1_NSS_ENC_Pin|SPI3_NSS_DRV_Pin, GPIO_PIN_SET);

  /*Configure GPIO pin Output Level */
  HAL_GPIO_WritePin(GPIOB, ENC_PRESET_Pin|TXEN_Pin, GPIO_PIN_RESET);

  /*Configure GPIO pin Output Level */
  HAL_GPIO_WritePin(USART3_CSn_GPIO_Port, USART3_CSn_Pin, GPIO_PIN_SET);

  /*Configure GPIO pin Output Level */
  HAL_GPIO_WritePin(SPI2_NCS_GPIO_Port, SPI2_NCS_Pin, GPIO_PIN_SET);

  /*Configure GPIO pin Output Level */
  HAL_GPIO_WritePin(DRV_ENABLE_GPIO_Port, DRV_ENABLE_Pin, GPIO_PIN_RESET);

  /*Configure GPIO pin Output Level */
  HAL_GPIO_WritePin(ENGATE_GPIO_Port, ENGATE_Pin, GPIO_PIN_RESET);

  /*Configure GPIO pin Output Level */
  HAL_GPIO_WritePin(SPI3_NSS_TC_GPIO_Port, SPI3_NSS_TC_Pin, GPIO_PIN_SET);

  /*Configure GPIO pins : SPI1_NSS_ENC_Pin SPI3_NSS_DRV_Pin */
  GPIO_InitStruct.Pin = SPI1_NSS_ENC_Pin|SPI3_NSS_DRV_Pin;
  GPIO_InitStruct.Mode = GPIO_MODE_OUTPUT_PP;
  GPIO_InitStruct.Pull = GPIO_NOPULL;
  GPIO_InitStruct.Speed = GPIO_SPEED_FREQ_VERY_HIGH;
  HAL_GPIO_Init(GPIOA, &GPIO_InitStruct);

  /*Configure GPIO pin : ENC_PRESET_Pin */
  GPIO_InitStruct.Pin = ENC_PRESET_Pin;
  GPIO_InitStruct.Mode = GPIO_MODE_OUTPUT_PP;
  GPIO_InitStruct.Pull = GPIO_NOPULL;
  GPIO_InitStruct.Speed = GPIO_SPEED_FREQ_LOW;
  HAL_GPIO_Init(ENC_PRESET_GPIO_Port, &GPIO_InitStruct);

  /*Configure GPIO pins : USART3_CSn_Pin TXEN_Pin */
  GPIO_InitStruct.Pin = USART3_CSn_Pin|TXEN_Pin;
  GPIO_InitStruct.Mode = GPIO_MODE_OUTPUT_PP;
  GPIO_InitStruct.Pull = GPIO_NOPULL;
  GPIO_InitStruct.Speed = GPIO_SPEED_FREQ_VERY_HIGH;
  HAL_GPIO_Init(GPIOB, &GPIO_InitStruct);

  /*Configure GPIO pin : SPI2_NCS_Pin */
  GPIO_InitStruct.Pin = SPI2_NCS_Pin;
  GPIO_InitStruct.Mode = GPIO_MODE_OUTPUT_PP;
  GPIO_InitStruct.Pull = GPIO_NOPULL;
  GPIO_InitStruct.Speed = GPIO_SPEED_FREQ_VERY_HIGH;
  HAL_GPIO_Init(SPI2_NCS_GPIO_Port, &GPIO_InitStruct);

  /*Configure GPIO pin : DRV_ENABLE_Pin */
  GPIO_InitStruct.Pin = DRV_ENABLE_Pin;
  GPIO_InitStruct.Mode = GPIO_MODE_OUTPUT_PP;
  GPIO_InitStruct.Pull = GPIO_NOPULL;
  GPIO_InitStruct.Speed = GPIO_SPEED_FREQ_LOW;
  HAL_GPIO_Init(DRV_ENABLE_GPIO_Port, &GPIO_InitStruct);

  /*Configure GPIO pin : ENGATE_Pin */
  GPIO_InitStruct.Pin = ENGATE_Pin;
  GPIO_InitStruct.Mode = GPIO_MODE_OUTPUT_PP;
  GPIO_InitStruct.Pull = GPIO_NOPULL;
  GPIO_InitStruct.Speed = GPIO_SPEED_FREQ_LOW;
  HAL_GPIO_Init(ENGATE_GPIO_Port, &GPIO_InitStruct);

  /*Configure GPIO pin : Fault_Pin */
  GPIO_InitStruct.Pin = Fault_Pin;
  GPIO_InitStruct.Mode = GPIO_MODE_INPUT;
  GPIO_InitStruct.Pull = GPIO_PULLUP;
  HAL_GPIO_Init(Fault_GPIO_Port, &GPIO_InitStruct);

  /*Configure GPIO pin : SPI3_NSS_TC_Pin */
  GPIO_InitStruct.Pin = SPI3_NSS_TC_Pin;
  GPIO_InitStruct.Mode = GPIO_MODE_OUTPUT_PP;
  GPIO_InitStruct.Pull = GPIO_NOPULL;
  GPIO_InitStruct.Speed = GPIO_SPEED_FREQ_VERY_HIGH;
  HAL_GPIO_Init(SPI3_NSS_TC_GPIO_Port, &GPIO_InitStruct);

  /*Configure GPIO pin : EXT_DI_Pin */
  GPIO_InitStruct.Pin = EXT_DI_Pin;
  GPIO_InitStruct.Mode = GPIO_MODE_INPUT;
  GPIO_InitStruct.Pull = GPIO_PULLUP;
  HAL_GPIO_Init(EXT_DI_GPIO_Port, &GPIO_InitStruct);

}

/* USER CODE BEGIN 4 */

/* re-direct printf to SWO */
int __io_putchar(int ch)
{
	// Write character to ITM ch.0
	ITM_SendChar(ch);
	return (ch);
}

/* USER CODE END 4 */

void Error_Handler(void)
{
  while(1)
  {
  }
}
